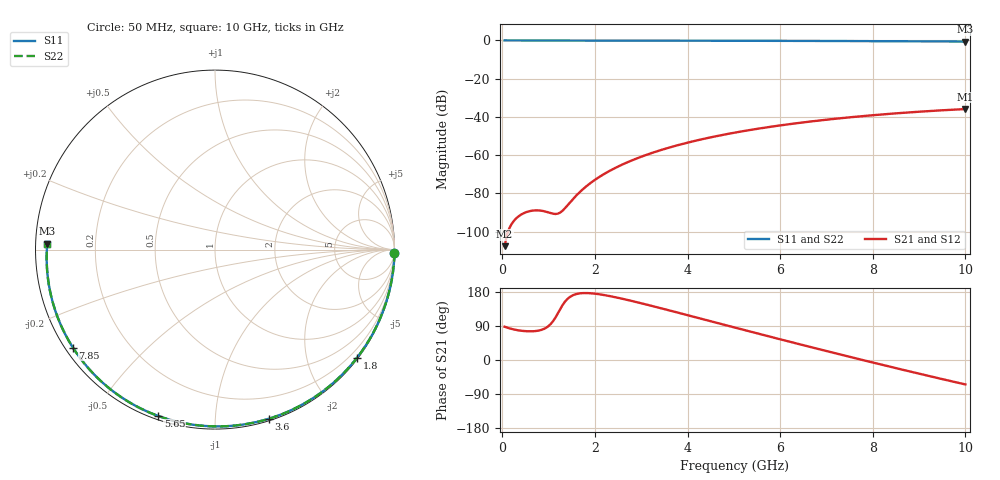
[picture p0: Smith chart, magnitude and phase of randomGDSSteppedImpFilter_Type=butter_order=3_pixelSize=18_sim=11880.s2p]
! freq	dB(S11)	phase(S11)	dB(S12)	phase(S12)
!  dB(S21)	phase(S21)	dB(S22)	phase(S22)
!S-par simulation data
#  GHz  S  DB  R 50
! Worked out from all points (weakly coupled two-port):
!   200 points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, 50 MHz to 10 GHz, reference 50 ohm
!   highest |S21| = -35.90 dB at 10 GHz (marker M1); lowest = -107.7 dB at 50 MHz (marker M2)
!   lowest |S11| = -0.6 dB at 10 GHz (marker M3), VSWR 29.89, Z = 1.67 + j0.873 ohm
!   |S11| at or under -10 dB: nowhere
!   |S22| runs from -0.6 to 0.0 dB; largest |S21 - S12| = 0
!   S11 on the Smith chart (normalised r, x): 50 MHz: open; 1.8 GHz: 0.03, -2.96; 3.6 GHz: 0.02, -1.37; 5.65 GHz: 0.02, -0.72; 7.85 GHz: 0.02, -0.31; 10 GHz: 0.03, +0.02
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0.05  -0.00 -1.1  -107.65 87.8  -107.65 87.8  -0.00 -1.1
0.4  -0.01 -8.5  -91.22 77.3  -91.22 77.3  -0.01 -8.5
0.8  -0.02 -16.8  -88.97 78.0  -88.97 78.0  -0.02 -16.8
1.6  -0.04 -33.3  -81.09 174.0  -81.09 174.0  -0.04 -33.3
1.65  -0.04 -34.3  -79.88 175.4  -79.88 175.4  -0.04 -34.3
1.75  -0.05 -36.4  -77.65 176.6  -77.65 176.6  -0.05 -36.4
1.8  -0.05 -37.4  -76.61 176.7  -76.61 176.7  -0.05 -37.4
2.1  -0.06 -43.4  -71.35 173.4  -71.35 173.4  -0.06 -43.4
2.45  -0.06 -50.3  -66.58 165.4  -66.58 165.4  -0.06 -50.3
2.9  -0.08 -59.1  -61.77 152.8  -61.77 152.8  -0.08 -59.1
3.4  -0.09 -68.6  -57.54 137.4  -57.54 137.4  -0.09 -68.6
3.6  -0.10 -72.4  -56.09 131.1  -56.09 131.1  -0.10 -72.4
4.3  -0.12 -85.2  -51.76 108.7  -51.76 108.7  -0.12 -85.2
5.05  -0.15 -98.5  -48.10 84.7  -48.10 84.7  -0.15 -98.5
5.65  -0.18 -108.9  -45.70 65.7  -45.70 65.7  -0.18 -108.8
6.15  -0.21 -117.3  -43.96 50.0  -43.96 50.0  -0.21 -117.3
6.7  -0.25 -126.5  -42.29 32.9  -42.29 32.9  -0.25 -126.5
7.3  -0.29 -136.4  -40.71 14.5  -40.71 14.5  -0.29 -136.4
7.85  -0.34 -145.4  -39.44 -2.1  -39.44 -2.1  -0.34 -145.4
8.35  -0.39 -153.7  -38.43 -17.0  -38.43 -17.0  -0.39 -153.7
9.2  -0.48 -168.0  -36.98 -41.8  -36.98 -41.8  -0.48 -168.0
10  -0.58 178.0  -35.90 -64.5  -35.90 -64.5  -0.58 178.0
